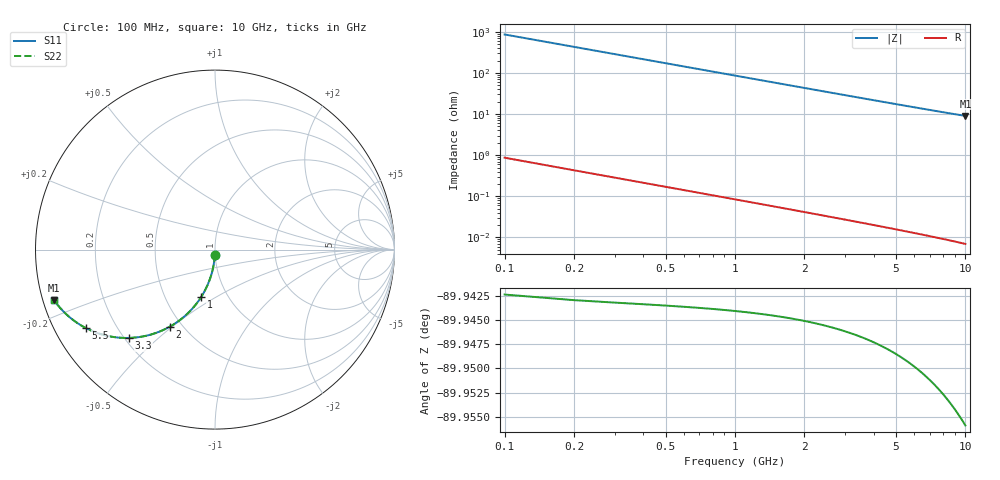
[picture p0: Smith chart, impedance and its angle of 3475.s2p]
# Hz S RI R 50.00
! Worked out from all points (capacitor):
!   100 points, 100 MHz to 10 GHz, reference 50 ohm
!   read as one part in shunt: C = 1.85 pF near 100 MHz
!   lowest |Z| = 9.01 ohm at 10 GHz (marker M1)
!   S11 on the Smith chart (normalised r, x): 100 MHz: 1.00, -0.06; 1 GHz: 0.75, -0.43; 2 GHz: 0.43, -0.49; 3.3 GHz: 0.22, -0.41; 5.5 GHz: 0.09, -0.28; 10 GHz: 0.03, -0.15
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1e8  -0.000793 -0.0288  0.9991 -0.0292  0.9991 -0.0292  -0.000793 -0.0288
2e8  -0.00334 -0.0574  0.9965 -0.0582  0.9965 -0.0582  -0.00334 -0.0574
3e8  -0.00753 -0.0858  0.9923 -0.087  0.9923 -0.087  -0.00753 -0.0858
4e8  -0.0133 -0.1137  0.9865 -0.1153  0.9865 -0.1153  -0.0133 -0.1137
5e8  -0.0207 -0.141  0.9792 -0.1431  0.9792 -0.1431  -0.0207 -0.141
6e8  -0.0295 -0.1677  0.9703 -0.1702  0.9703 -0.1702  -0.0295 -0.1677
7e8  -0.0397 -0.1935  0.9601 -0.1965  0.9601 -0.1965  -0.0397 -0.1935
8e8  -0.0512 -0.2185  0.9486 -0.2218  0.9486 -0.2218  -0.0512 -0.2185
1e9  -0.0778 -0.2654  0.922 -0.2696  0.922 -0.2696  -0.0778 -0.2654
1.2e9  -0.1083 -0.3079  0.8915 -0.3129  0.8915 -0.3129  -0.1083 -0.3079
1.4e9  -0.1418 -0.3456  0.858 -0.3514  0.858 -0.3514  -0.1418 -0.3456
1.8e9  -0.2146 -0.4063  0.7852 -0.4138  0.7852 -0.4138  -0.2146 -0.4063
2e9  -0.2522 -0.4297  0.7476 -0.438  0.7476 -0.438  -0.2522 -0.4297
2.6e9  -0.3631 -0.475  0.6367 -0.4859  0.6367 -0.4859  -0.3631 -0.475
3.3e9  -0.4789 -0.4921  0.5209 -0.506  0.5209 -0.506  -0.4789 -0.4921
3.4e9  -0.4938 -0.4923  0.5059 -0.5066  0.5059 -0.5066  -0.4938 -0.4923
4.2e9  -0.5985 -0.4808  0.4012 -0.4985  0.4012 -0.4985  -0.5985 -0.4808
5.1e9  -0.6877 -0.4521  0.3119 -0.4736  0.3119 -0.4736  -0.6877 -0.4521
5.5e9  -0.7194 -0.437  0.2801 -0.4603  0.2801 -0.4603  -0.7194 -0.437
6.7e9  -0.7925 -0.3905  0.2069 -0.419  0.2069 -0.419  -0.7925 -0.3905
8.4e9  -0.858 -0.33  0.1411 -0.3661  0.1411 -0.3661  -0.858 -0.33
1e10  -0.8962 -0.282  0.1027 -0.3255  0.1027 -0.3255  -0.8962 -0.282
